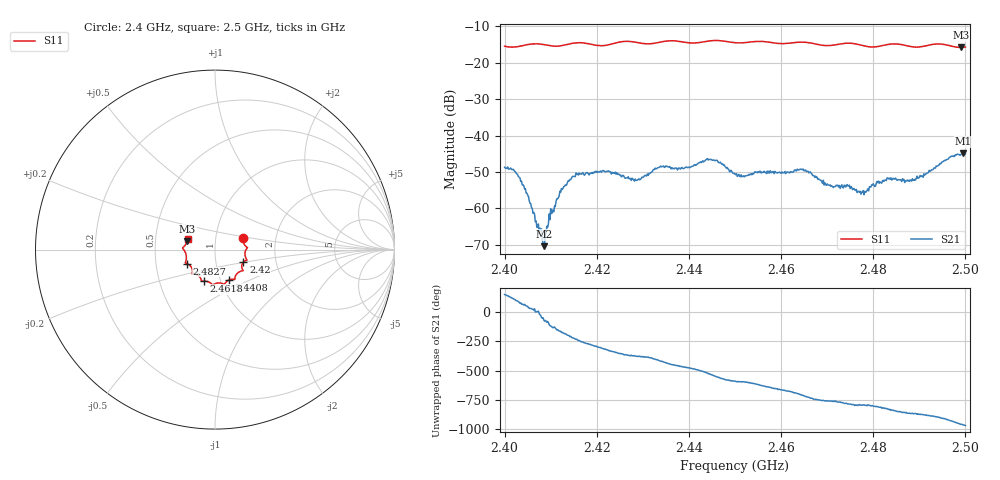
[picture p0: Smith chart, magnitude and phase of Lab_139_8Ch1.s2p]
# Hz S RI R 50
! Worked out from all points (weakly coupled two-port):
!   601 points, 2.4 GHz to 2.5 GHz, reference 50 ohm
!   highest |S21| = -44.87 dB at 2.4995 GHz (marker M1); lowest = -70.3 dB at 2.4085 GHz (marker M2)
!   lowest |S11| = -15.8 dB at 2.499 GHz (marker M3), VSWR 1.39, Z = 36.5 + j3.52 ohm
!   |S11| at or under -10 dB: start of sweep to end of sweep
!   S12 and S22 are empty: the file has one direction only
!   S11 on the Smith chart (normalised r, x): 2.4 GHz: 1.36, +0.17; 2.42 GHz: 1.36, -0.19; 2.4408 GHz: 1.10, -0.39; 2.4618 GHz: 0.84, -0.30; 2.4827 GHz: 0.72, -0.12; 2.5 GHz: 0.73, +0.09
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2.4e9  0.156 0.0623  -0.00316 0.00189  0 0  0 0
2.403167e9  0.1656 0.0252  0.000286 0.00266  0 0  0 0
2.4085e9  0.1771 0.00556  0.00012 -0.000279  0 0  0 0
2.41e9  0.1705 -0.00642  -0.000495 -0.00086  0 0  0 0
2.4125e9  0.1681 -0.0356  -0.00181 -0.000234  0 0  0 0
2.416667e9  0.1782 -0.0594  -0.000836 0.00283  0 0  0 0
2.42e9  0.1582 -0.0693  0.00129 0.00284  0 0  0 0
2.4285e9  0.149 -0.1189  0.00234 -0.000653  0 0  0 0
2.433333e9  0.112 -0.1522  0.00232 -0.0028  0 0  0 0
2.440833e9  0.0789 -0.1688  -0.00205 -0.00321  0 0  0 0
2.445667e9  0.0523 -0.1948  -0.00449 0.000451  0 0  0 0
2.45e9  0.0279 -0.1859  -0.00197 0.00221  0 0  0 0
2.461833e9  -0.0602 -0.1752  0.00215 0.0022  0 0  0 0
2.466667e9  -0.0771 -0.1684  0.0029 -0.000709  0 0  0 0
2.469833e9  -0.0937 -0.1435  0.00163 -0.00128  0 0  0 0
2.4775e9  -0.1253 -0.12  0.000426 -0.00163  0 0  0 0
2.482667e9  -0.1573 -0.0779  -0.000423 -0.00242  0 0  0 0
2.483333e9  -0.1612 -0.0764  -0.000741 -0.00244  0 0  0 0
2.488833e9  -0.1595 -0.0388  -0.00201 -0.00136  0 0  0 0
2.499e9  -0.1548 0.0471  -0.00302 0.00462  0 0  0 0
2.4995e9  -0.1529 0.0544  -0.00262 0.00507  0 0  0 0
2.5e9  -0.152 0.0616  -0.00224 0.00509  0 0  0 0
